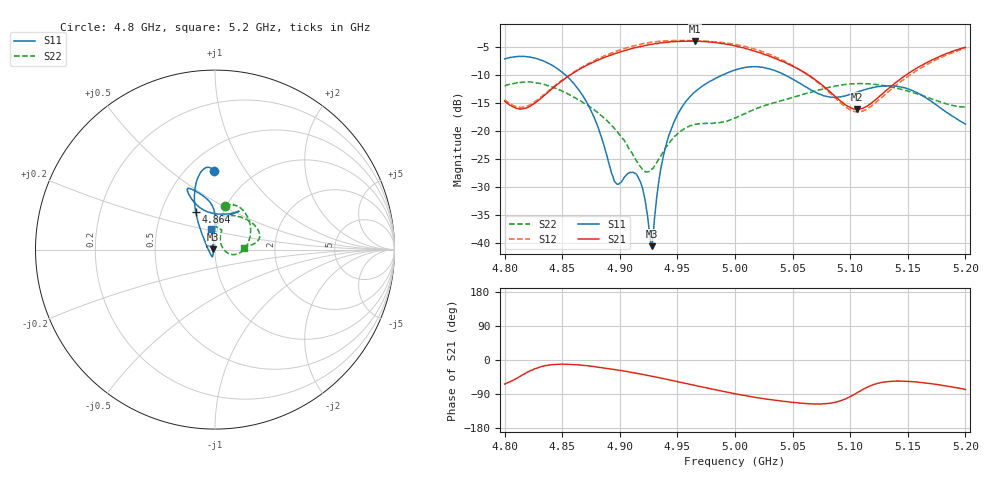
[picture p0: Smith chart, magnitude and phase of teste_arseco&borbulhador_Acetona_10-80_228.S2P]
! Network Analyzer HP8722D
! Hewlett-Packard
! Data name: Linha & Wilkinson
! Saver's name: Rodrigo Anjos
! Comments: Teste da utilização de aquisição
! continua pelo VNA HP8722D
! Time and date: 25/4/2025 17:10
!  Frequency  S11  S21  S12  S22
# HZ  S  MA R 50
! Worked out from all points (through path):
!   401 points, 4.8 GHz to 5.2 GHz, reference 50 ohm
!   highest |S21| = -4.00 dB at 4.965 GHz (marker M1); lowest = -16.2 dB at 5.106 GHz (marker M2)
!   lowest |S11| = -40.5 dB at 4.928 GHz (marker M3), VSWR 1.02, Z = 49.1 + j0.225 ohm
!   |S11| at or under -10 dB: 4.853 GHz to 4.99 GHz (137.2 MHz wide, 2.79 % of centre); 5.043 GHz to end of sweep
!   |S22| runs from -27.3 to -11.3 dB; largest |S21 - S12| = 1.2
!   S11 on the Smith chart (normalised r, x): 4.8 GHz: 0.67, +0.73; 4.864 GHz: 0.74, +0.33; 5.2 GHz: 0.93, +0.21
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4.8e9  0.4365 90.9  0.1846 -63.5  0.1895 70.1  0.2519 76.8
4.82e9  0.4556 97.2  0.1612 -31.9  0.1673 98.8  0.2731 61.4
4.843e9  0.3739 106.7  0.2459 -11.8  0.2493 118.9  0.2428 36.5
4.864e9  0.2345 117.1  0.3497 -12.8  0.3529 121.0  0.1897 12.0
4.867e9  0.2118 118.8  0.364 -13.8  0.3679 120.7  0.1823 8.8
4.88e9  0.115 129.2  0.4215 -18.3  0.4328 118.1  0.1478 -5.1
4.896e9  0.03488 -171.1  0.4889 -25.4  0.5062 113.2  0.1036 -15.3
4.916e9  0.03854 -108.3  0.5582 -36.1  0.584 104.0  0.05099 -1.5
4.921e9  0.02711 -113.4  0.5726 -38.8  0.5996 101.2  0.04442 13.8
4.926e9  0.01175 -148.3  0.5864 -41.7  0.6118 98.2  0.04361 34.1
4.928e9  0.009434 166.0  0.5897 -43.1  0.615 97.1  0.04591 41.2
4.934e9  0.03646 102.3  0.6029 -46.7  0.6274 93.2  0.05684 58.1
4.94e9  0.07366 93.7  0.6138 -50.7  0.6324 89.3  0.07153 66.0
4.946e9  0.113 90.9  0.6213 -54.5  0.6366 85.6  0.08578 69.2
4.965e9  0.2211 91.4  0.6308 -67.0  0.6356 73.3  0.1141 70.7
5e9  0.3486 109.2  0.5708 -88.9  0.5885 50.7  0.1307 88.0
5.03e9  0.3566 115.3  0.4616 -104.3  0.479 33.9  0.1727 85.0
5.067e9  0.2286 105.6  0.298 -115.7  0.2958 23.7  0.2226 56.9
5.106e9  0.2211 65.6  0.1556 -86.5  0.1478 56.5  0.2634 24.6
5.134e9  0.2517 58.0  0.2422 -56.6  0.2271 88.8  0.2478 12.3
5.169e9  0.188 71.0  0.4177 -62.0  0.402 84.8  0.1956 7.0
5.2e9  0.1148 101.1  0.5531 -77.6  0.5433 70.0  0.163 3.5
